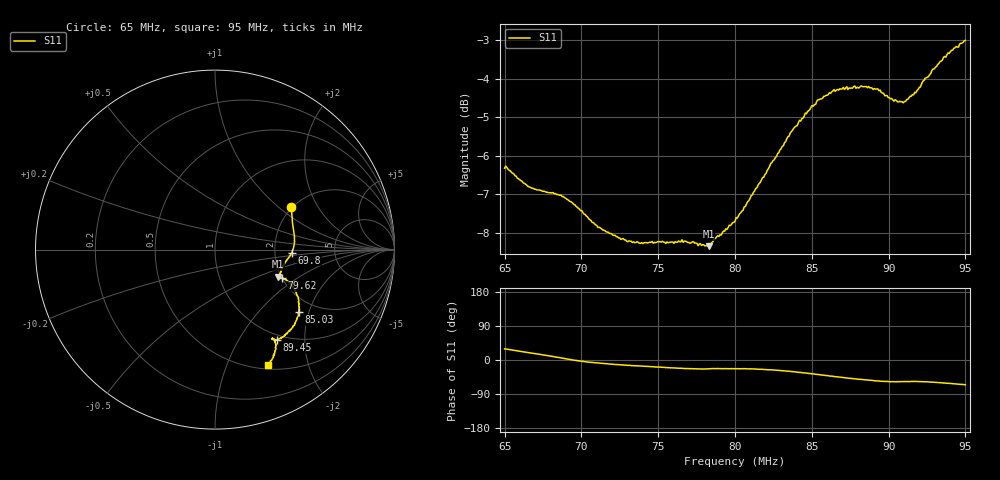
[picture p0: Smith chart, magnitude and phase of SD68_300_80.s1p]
! NanoVNA-App
! Date: 2025-08-09 13:24:07
! Start: 65MHz Stop: 95MHz Points: 401
! S-Parameter data: F S11
# Hz S RI R 50
!  Frequency  S11_Real  S11_Imag
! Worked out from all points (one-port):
!   401 points, 65 MHz to 95 MHz, reference 50 ohm
!   lowest |S11| = -8.4 dB at 78.28 MHz (marker M1), VSWR 2.24, Z = 96.2 - j34 ohm
!   |S11| at or under -10 dB: nowhere
!   S11 on the Smith chart (normalised r, x): 65 MHz: 1.96, +1.21; 69.8 MHz: 2.49, -0.10; 79.62 MHz: 2.00, -0.77; 85.03 MHz: 1.63, -1.72; 89.45 MHz: 0.91, -1.47; 95 MHz: 0.55, -1.42
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6.5e7  0.4208 0.237
6.665e7  0.4318 0.1468
6.875e7  0.4417 0.0385
6.98e7  0.4279 -0.0162
7.0775e7  0.4075 -0.0489
7.25e7  0.3824 -0.0854
7.3925e7  0.3711 -0.1071
7.625e7  0.3601 -0.1415
7.7825e7  0.3512 -0.153
7.8275e7  0.3512 -0.1511
7.9625e7  0.3746 -0.1593
8e7  0.379 -0.1608
8.075e7  0.3987 -0.1713
8.18e7  0.4266 -0.1962
8.27e7  0.4454 -0.2275
8.375e7  0.4651 -0.2771
8.5025e7  0.4676 -0.3473
8.645e7  0.4432 -0.4206
8.75e7  0.4071 -0.4589
8.84e7  0.3799 -0.4853
8.945e7  0.3429 -0.5047
9.0275e7  0.3217 -0.4974
9.125e7  0.3223 -0.4984
9.1925e7  0.3327 -0.513
9.2375e7  0.3399 -0.5329
9.2975e7  0.3389 -0.5548
9.395e7  0.3233 -0.5994
9.5e7  0.2971 -0.6425
